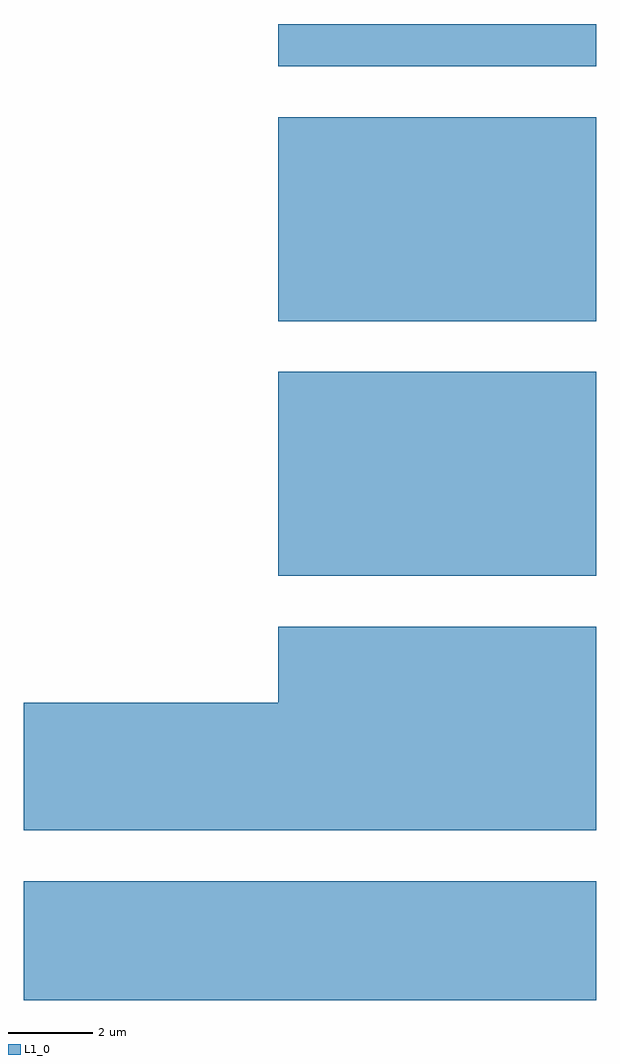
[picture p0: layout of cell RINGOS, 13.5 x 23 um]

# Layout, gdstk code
import gdstk
lib = gdstk.Library(unit=1e-6, precision=1e-09)
def R(c, l, rs):  # rectangles x0, y0, x1, y1
    for r in rs: c.add(gdstk.rectangle(r[:2], r[2:], *l))
L1_0 = (1, 0)

ringo_clip_var = lib.new_cell('RINGO$CLIP_VAR')
R(ringo_clip_var, L1_0, [(5,1,18.5,3.8)])

ringo_clip_var_1 = lib.new_cell('RINGO$CLIP_VAR$1')
R(ringo_clip_var_1, L1_0, [(5,-1,18.5,2), (11,2,18.5,3.8)])

ringo_clip_var_2 = lib.new_cell('RINGO$CLIP_VAR$2')
R(ringo_clip_var_2, L1_0, [(11,-1,18.5,3.8)])

ringo_clip_var_3 = lib.new_cell('RINGO$CLIP_VAR$3')
R(ringo_clip_var_3, L1_0, [(11,-1,18.5,3.8)])

ringo_clip_var_4 = lib.new_cell('RINGO$CLIP_VAR$4')
R(ringo_clip_var_4, L1_0, [(11,-1,18.5,0)])

ringos = lib.new_cell('RINGOS')
ringos.add(gdstk.Reference(ringo_clip_var, (0,12)))
ringos.add(gdstk.Reference(ringo_clip_var_1, (0,18)))
ringos.add(gdstk.Reference(ringo_clip_var_2, (0,24)))
ringos.add(gdstk.Reference(ringo_clip_var_3, (0,30)))
ringos.add(gdstk.Reference(ringo_clip_var_4, (0,36)))

lib.write_gds('RINGOS.gds')
